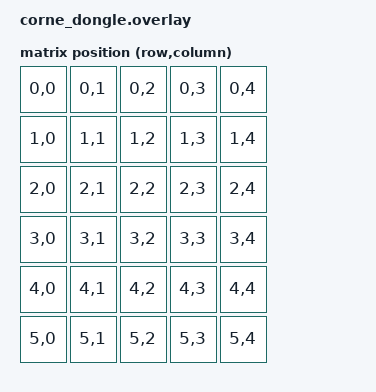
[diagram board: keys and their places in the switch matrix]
#include <dt-bindings/zmk/matrix-transform.h>

/ {
    chosen {
        zmk,matrix-transform = &corne36;
    };

    corne36: matrix_transform {
        compatible = "zmk,matrix-transform";

        rows = <6>;
        columns = <5>;

        map = <
            /* LEFT HAND (0–14) */
            RC(0,0) RC(0,1) RC(0,2) RC(0,3) RC(0,4)
            RC(1,0) RC(1,1) RC(1,2) RC(1,3) RC(1,4)
            RC(2,0) RC(2,1) RC(2,2) RC(2,3) RC(2,4)

            /* RIGHT HAND (15–29) */
            RC(3,0) RC(3,1) RC(3,2) RC(3,3) RC(3,4)
            RC(4,0) RC(4,1) RC(4,2) RC(4,3) RC(4,4)
            RC(5,0) RC(5,1) RC(5,2) RC(5,3) RC(5,4)

        >;
    };
};
